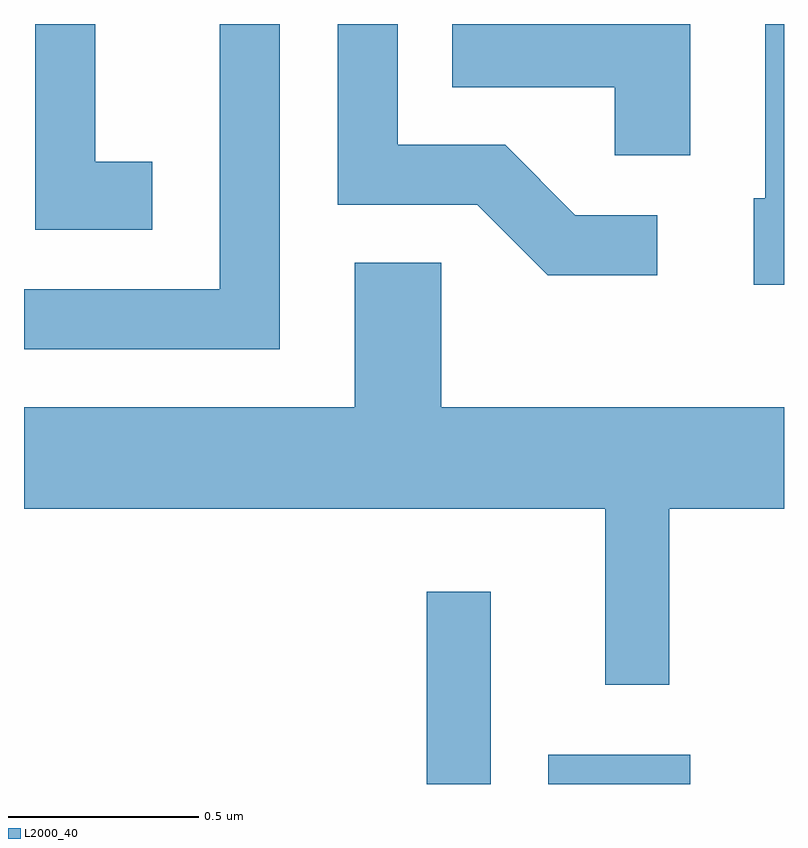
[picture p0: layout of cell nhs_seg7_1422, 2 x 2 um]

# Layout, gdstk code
import gdstk
lib = gdstk.Library(unit=1e-6, precision=1e-09)
def R(c, l, rs):  # rectangles x0, y0, x1, y1
    for r in rs: c.add(gdstk.rectangle(r[:2], r[2:], *l))
def P(c, l, *ps):  # polygons
    for p in ps: c.add(gdstk.Polygon(p, *l))
L2000_40 = (2000, 40)

nhs_seg7_1422 = lib.new_cell('nhs_seg7_1422')
R(nhs_seg7_1422, L2000_40, [(196.671,1720.252,196.839,1720.758), (196.991,1720.252,197.364,1720.329)])
P(nhs_seg7_1422, L2000_40, [(195.949,1721.889),(195.799,1721.889),(195.799,1722.252),(195.641,1722.252),(195.641,1721.711),(195.949,1721.711)],
  [(197.364,1722.252),(196.738,1722.252),(196.738,1722.086),(197.166,1722.086),(197.166,1721.906),(197.364,1721.906)],
  [(197.278,1721.749),(197.062,1721.749),(196.877,1721.934),(196.594,1721.934),(196.594,1722.252),(196.436,1722.252),(196.436,1721.776),(196.804,1721.776),(196.989,1721.591),(197.278,1721.591)],
  [(196.284,1722.252),(196.126,1722.252),(196.126,1721.554),(195.611,1721.554),(195.611,1721.396),(196.284,1721.396)],
  [(197.611,1722.252),(197.561,1722.252),(197.561,1721.794),(197.531,1721.794),(197.531,1721.566),(197.611,1721.566)],
  [(197.309,1720.976),(197.611,1720.976),(197.611,1721.244),(196.709,1721.244),(196.709,1721.624),(196.481,1721.624),(196.481,1721.244),(195.611,1721.244),(195.611,1720.976),(197.141,1720.976),(197.141,1720.513),(197.309,1720.513)])

lib.write_gds('nhs_seg7_1422.gds')
